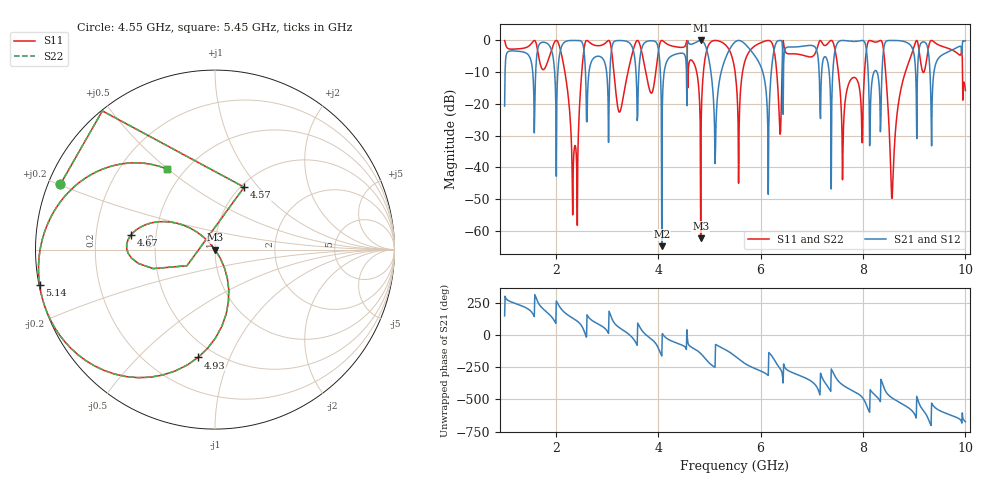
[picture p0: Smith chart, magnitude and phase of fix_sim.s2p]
! Created Sun Jan 19 16:05:07 2025
# hz S ma R 50
! 2 Port Network Data from SP1.SP block
! freq  magS11  angS11  magS21  angS21  magS12  angS12  magS22  angS22
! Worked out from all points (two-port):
!   901 points, 1 GHz to 10 GHz, reference 50 ohm
!   highest |S21| = 0.00 dB at 4.83 GHz (marker M1); lowest = -64.9 dB at 4.07 GHz (marker M2)
!   |S21| within 3 dB of the highest: 6.473 GHz to 7.093 GHz (619.9 MHz wide, 9.14 % of centre); 7.456 GHz to 8.066 GHz (610.4 MHz wide, 7.86 % of centre)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
!   lowest |S11| = -62.4 dB at 4.83 GHz (marker M3), VSWR 1.00, Z = 50 - j0.062 ohm
!   |S11| at or under -10 dB: 2.177 GHz to 2.507 GHz (329.7 MHz wide, 14.1 % of centre); 7.519 GHz to 8.03 GHz (510.9 MHz wide, 6.57 % of centre); 8.442 GHz to 8.827 GHz (385.6 MHz wide, 4.47 % of centre)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
!   |S22| runs from -62.4 to 0.0 dB; largest |S21 - S12| = 0
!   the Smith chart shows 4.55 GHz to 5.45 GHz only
!   S11 on the Smith chart (normalised r, x): 4.55 GHz: 0.03, +0.20; 4.57 GHz: 1.04, +0.85; 4.67 GHz: 0.36, +0.08; 4.93 GHz: 0.40, -0.77; 5.14 GHz: 0.00, -0.10; 5.45 GHz: 0.40, +0.50
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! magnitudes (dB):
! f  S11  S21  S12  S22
! 1 GHz  0.0  -20.7  -20.7  0.0
! 2.04 GHz  -0.5  -9.9  -9.9  -0.5
! 2.38 GHz  -33.2  0.0  0.0  -33.2
! 2.5 GHz  -11.5  -0.3  -0.3  -11.5
! 4 GHz  -3.8  -2.4  -2.4  -3.8
! 4.07 GHz  0.0  -64.9  -64.9  0.0
! 4.55 GHz  -0.6  -9.0  -9.0  -0.6
! 4.57 GHz  -8.3  -0.7  -0.7  -8.3
! 4.67 GHz  -6.5  -1.1  -1.1  -6.5
! 4.83 GHz  -62.4  0.0  0.0  -62.4
! 4.93 GHz  -4.3  -2.0  -2.0  -4.3
! 5.14 GHz  0.0  -21.9  -21.9  0.0
! 5.45 GHz  -5.7  -1.4  -1.4  -5.7
! 5.5 GHz  -9.6  -0.5  -0.5  -9.6
! 6.14 GHz  0.0  -27.0  -27.0  0.0
! 6.37 GHz  -26.4  0.0  0.0  -26.4
! 7 GHz  -5.1  -1.6  -1.6  -5.1
! 7.61 GHz  -34.0  0.0  0.0  -34.0
! 8.34 GHz  0.0  -28.8  -28.8  0.0
! 8.5 GHz  -24.4  0.0  0.0  -24.4
! 9.04 GHz  -0.1  -16.8  -16.8  -0.1
! 10 GHz  -15.8  -0.1  -0.1  -15.8
